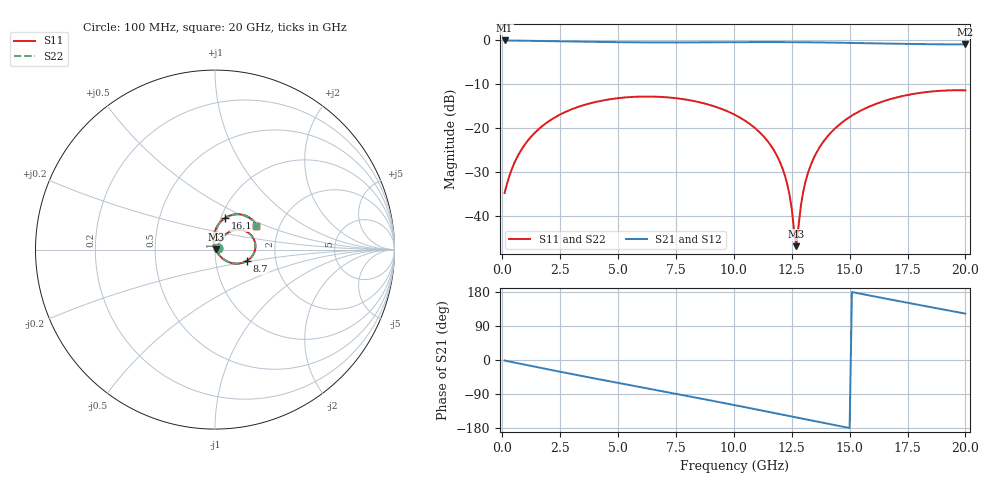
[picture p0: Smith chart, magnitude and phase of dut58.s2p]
! Touchstone file exported from HFSS 2026.1.0
!  File:  C:/ffzhzh/LocalFiles/Ansys_Project_Files/temp_train_TSV_RDL_58_1782967845_6388.aedt
!  Generated:  12:58:54 PM Jul  2, 2026
!  Design:  TSV_RDL
!  Project:  temp_train_TSV_RDL_58_1782967845_6388
! Variables:
!  h_bsmrdl = 4.05um
!  h_ox = 20um
!  h_rdl = 5um
!  h_sub = 67.16um
!  h_tmrdl = 5.85um
!  h_tsv = 67.16um
!  h_via = 3um
!  l_bsmrdl = 401.93um
!  l_sub = 3935.57um
!  l_tmrdl = 554.5um
!  m_sub = 200um
!  pitch = 29.09um
!  r_tsv = 8.83um
!  s_tmrdl = 10um
!  w_bsmrdl = 24.46um
!  w_sub = 500um
!  w_tmrdl = 12.8um
!  x_tsv_center1 = 560.9um
!  x_tsv_center2 = 987.29um
!  x_tsv_center3 = 1554.59um
!  x_tsv_center4 = 1980.98um
!  x_tsv_center5 = 2548.28um
!  x_tsv_center6 = 2974.67um
# GHz S MA R 50.000000
! Terminal data exported
! Port[1] = TM_RDL1_1_T1
! Port[2] = TM_RDL5_1_T1
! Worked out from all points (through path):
!   200 points, 100 MHz to 20 GHz, reference 50 ohm
!   highest |S21| = -0.14 dB at 100 MHz (marker M1); lowest = -1.0 dB at 20 GHz (marker M2)
!   group delay of S21, straight-line fit = 33 ps
!   lowest |S11| = -46.9 dB at 12.7 GHz (marker M3), VSWR 1.01, Z = 50.4 + j0.236 ohm
!   |S11| at or under -10 dB: start of sweep to end of sweep
!   |S22| runs from -47.2 to -11.5 dB; largest |S21 - S12| = 8e-14
!   S11 on the Smith chart (normalised r, x): 100 MHz: 1.03, +0.02; 8.7 GHz: 1.42, -0.18; 16.1 GHz: 1.05, +0.38; 20 GHz: 1.53, +0.44
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0.1  0.01812 24.1  0.9836 -1.4  0.9836 -1.4  0.01812 24.1
! Gamma 0 0 0 0
! Port Impedance 50 0 50 0
0.6  0.04398 54.7  0.9788 -7.7  0.9788 -7.7  0.04398 54.7
1.3  0.08209 57.3  0.9736 -16.4  0.9736 -16.4  0.08209 57.3
2.3  0.1324 49.9  0.9645 -28.6  0.9645 -28.6  0.1324 49.9
3.5  0.1804 37.6  0.9524 -43.0  0.9524 -43.0  0.1804 37.6
5.2  0.2199 19.2  0.939 -62.8  0.939 -62.8  0.2199 19.2
6.8  0.2247 1.8  0.9338 -81.2  0.9338 -81.2  0.2246 1.8
8.7  0.1898 -19.1  0.9361 -103.2  0.9361 -103.2  0.1897 -19.1
10.1  0.1379 -34.5  0.9402 -119.9  0.9402 -119.9  0.1378 -34.6
11.2  0.08429 -46.2  0.9421 -133.2  0.9421 -133.2  0.08425 -46.2
12  0.0403 -52.3  0.9418 -142.9  0.9418 -142.9  0.04025 -52.5
12.2  0.02891 -52.1  0.9414 -145.4  0.9414 -145.4  0.02886 -52.4
12.4  0.01753 -48.6  0.9408 -147.8  0.9408 -147.8  0.01746 -49.1
12.7  0.004501 31.3  0.9398 -151.5  0.9398 -151.5  0.00435 32.0
12.9  0.01322 91.0  0.939 -154.0  0.939 -154.0  0.0132 91.8
13  0.01889 95.9  0.9385 -155.2  0.9385 -155.2  0.01889 96.4
13.4  0.04223 98.8  0.9363 -160.1  0.9363 -160.1  0.04225 99.0
13.8  0.06558 96.2  0.9336 -165.0  0.9336 -165.0  0.0656 96.4
14.4  0.09979 90.5  0.9287 -172.3  0.9287 -172.3  0.09981 90.6
16.1  0.1852 72.1  0.9117 167.4  0.9117 167.4  0.1852 72.2
16.7  0.2094 65.5  0.9056 160.3  0.9056 160.3  0.2094 65.6
20  0.2663 29.9  0.8868 122.4  0.8868 122.4  0.2663 29.9
